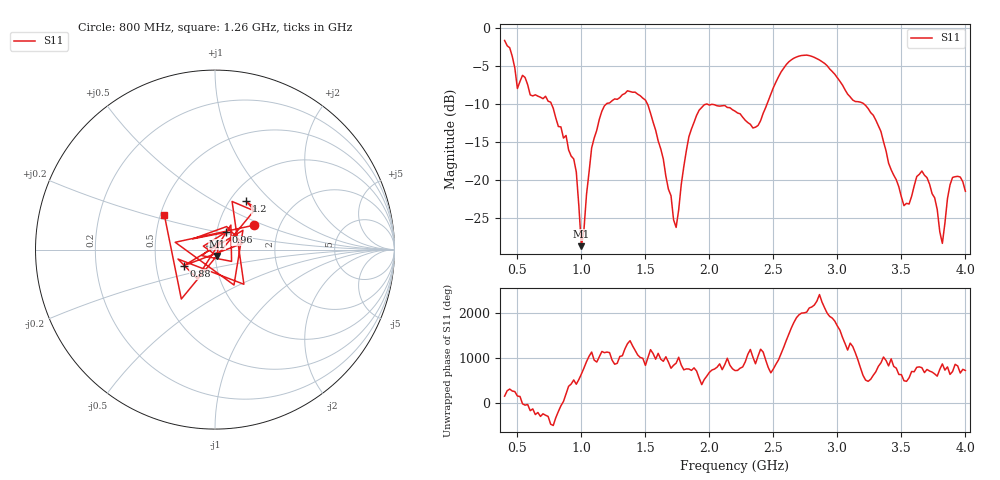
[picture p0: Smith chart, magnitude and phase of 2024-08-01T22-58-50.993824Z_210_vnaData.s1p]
!Created with skrf (http://scikit-rf.org).
# Hz S RI R 50.0
!freq ReS11 ImS11
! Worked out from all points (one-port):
!   181 points, 400 MHz to 4 GHz, reference 50 ohm
!   lowest |S11| = -28.7 dB at 1 GHz (marker M1), VSWR 1.08, Z = 51 - j3.58 ohm
!   |S11| at or under -10 dB: 1.517 GHz to 1.975 GHz (458.7 MHz wide, 26.3 % of centre); 1.983 GHz to 2.45 GHz (466.7 MHz wide, 21.1 % of centre); 3.209 GHz to end of sweep (the widest 3 of 4)
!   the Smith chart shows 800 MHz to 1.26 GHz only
!   S11 on the Smith chart (normalised r, x): 800 MHz: 1.48, +0.43; 880 MHz: 0.69, -0.13; 960 MHz: 1.11, +0.22; 1.2 GHz: 1.19, +0.71; 1.26 GHz: 0.52, +0.23
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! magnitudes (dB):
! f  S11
! 400 MHz  -1.6
! 500 MHz  -7.9
! 540 MHz  -6.2
! 800 MHz  -11.8
! 860 MHz  -14.5
! 880 MHz  -14.1
! 960 MHz  -18.9
! 1 GHz  -28.7
! 1.08 GHz  -15.8
! 1.2 GHz  -9.9
! 1.26 GHz  -9.3
! 1.3 GHz  -9.1
! 1.5 GHz  -9.5
! 1.72 GHz  -25.2
! 1.76 GHz  -23.9
! 1.84 GHz  -14.3
! 1.92 GHz  -10.8
! 2.2 GHz  -10.9
! 2.38 GHz  -12.8
! 2.66 GHz  -3.9
! 3.1 GHz  -9.0
! 3.28 GHz  -11.5
! 3.56 GHz  -23.2
! 3.66 GHz  -18.8
! 3.76 GHz  -22.3
! 3.82 GHz  -28.3
! 3.9 GHz  -19.7
! 4 GHz  -21.5
